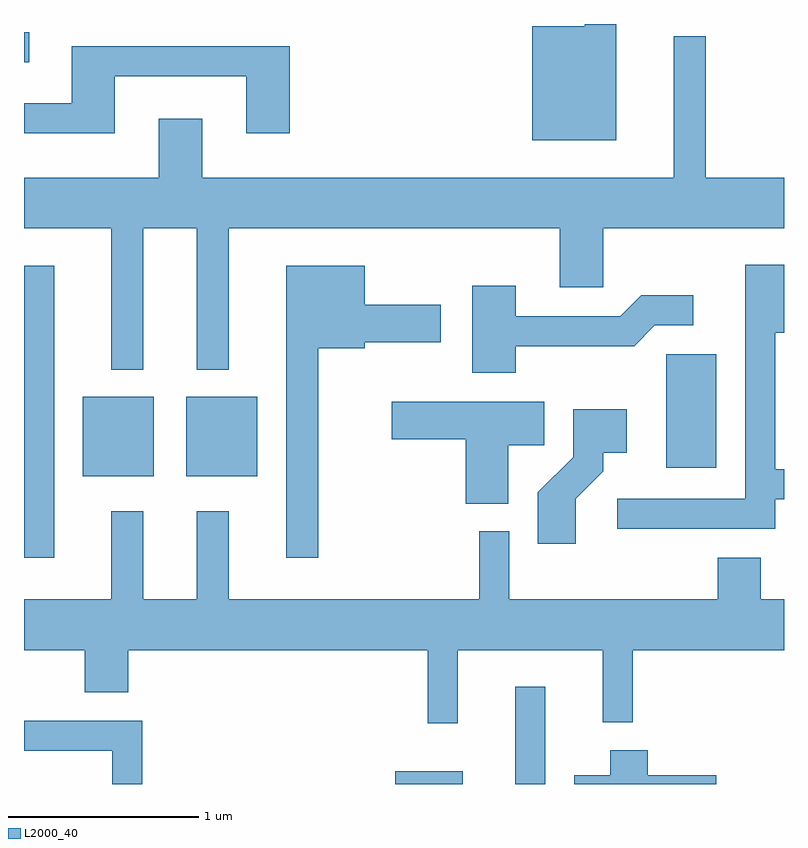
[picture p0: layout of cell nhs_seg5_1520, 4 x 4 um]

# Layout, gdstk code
import gdstk
lib = gdstk.Library(unit=1e-6, precision=1e-09)
def R(c, l, rs):  # rectangles x0, y0, x1, y1
    for r in rs: c.add(gdstk.rectangle(r[:2], r[2:], *l))
def P(c, l, *ps):  # polygons
    for p in ps: c.add(gdstk.Polygon(p, *l))
L2000_40 = (2000, 40)

nhs_seg5_1520 = lib.new_cell('nhs_seg5_1520')
R(nhs_seg5_1520, L2000_40, [(231.566,1476.072,231.919,1476.139), (232.196,1476.072,232.354,1476.583), (229.611,1477.263,229.769,1478.799), (229.921,1477.691,230.294,1478.109), (230.466,1477.691,230.839,1478.109), (232.991,1477.736,233.254,1478.334), (229.611,1479.871,229.638,1480.029)])
P(nhs_seg5_1520, L2000_40, [(232.729,1480.072),(232.561,1480.072),(232.561,1480.059),(232.286,1480.059),(232.286,1479.461),(232.729,1479.461)],
  [(230.239,1478.996),(230.521,1478.996),(230.521,1478.253),(230.689,1478.253),(230.689,1478.996),(232.431,1478.996),(232.431,1478.686),(232.659,1478.686),(232.659,1478.996),(233.611,1478.996),(233.611,1479.264),(233.199,1479.264),(233.199,1480.008),(233.031,1480.008),(233.031,1479.264),(230.549,1479.264),(230.549,1479.574),(230.321,1479.574),(230.321,1479.264),(229.611,1479.264),(229.611,1478.996),(230.071,1478.996),(230.071,1478.253),(230.239,1478.253)],
  [(230.089,1479.796),(230.781,1479.796),(230.781,1479.496),(231.009,1479.496),(231.009,1479.954),(229.861,1479.954),(229.861,1479.654),(229.611,1479.654),(229.611,1479.496),(230.089,1479.496)],
  [(233.564,1477.571),(233.611,1477.571),(233.611,1477.729),(233.564,1477.729),(233.564,1478.446),(233.611,1478.446),(233.611,1478.804),(233.406,1478.804),(233.406,1477.574),(232.733,1477.574),(232.733,1477.416),(233.564,1477.416)],
  [(231.159,1478.366),(231.404,1478.366),(231.404,1478.396),(231.804,1478.396),(231.804,1478.594),(231.404,1478.594),(231.404,1478.799),(230.991,1478.799),(230.991,1477.263),(231.159,1477.263)],
  [(232.199,1478.376),(232.822,1478.376),(232.932,1478.486),(233.133,1478.486),(233.133,1478.644),(232.859,1478.644),(232.749,1478.534),(232.199,1478.534),(232.199,1478.694),(231.971,1478.694),(231.971,1478.236),(232.199,1478.236)],
  [(232.159,1477.856),(232.349,1477.856),(232.349,1478.084),(231.546,1478.084),(231.546,1477.886),(231.936,1477.886),(231.936,1477.546),(232.159,1477.546)],
  [(232.514,1477.574),(232.659,1477.719),(232.659,1477.816),(232.784,1477.816),(232.784,1478.044),(232.501,1478.044),(232.501,1477.792),(232.316,1477.607),(232.316,1477.336),(232.514,1477.336)],
  [(232.656,1476.398),(232.814,1476.398),(232.814,1476.776),(233.611,1476.776),(233.611,1477.044),(233.489,1477.044),(233.489,1477.264),(233.261,1477.264),(233.261,1477.044),(232.164,1477.044),(232.164,1477.403),(232.006,1477.403),(232.006,1477.044),(230.689,1477.044),(230.689,1477.508),(230.521,1477.508),(230.521,1477.044),(230.239,1477.044),(230.239,1477.508),(230.071,1477.508),(230.071,1477.044),(229.611,1477.044),(229.611,1476.776),(229.931,1476.776),(229.931,1476.556),(230.159,1476.556),(230.159,1476.776),(231.736,1476.776),(231.736,1476.393),(231.894,1476.393),(231.894,1476.776),(232.656,1476.776)],
  [(230.234,1476.404),(229.611,1476.404),(229.611,1476.246),(230.076,1476.246),(230.076,1476.072),(230.234,1476.072)],
  [(233.254,1476.119),(232.894,1476.119),(232.894,1476.249),(232.696,1476.249),(232.696,1476.119),(232.506,1476.119),(232.506,1476.072),(233.254,1476.072)])

lib.write_gds('nhs_seg5_1520.gds')
